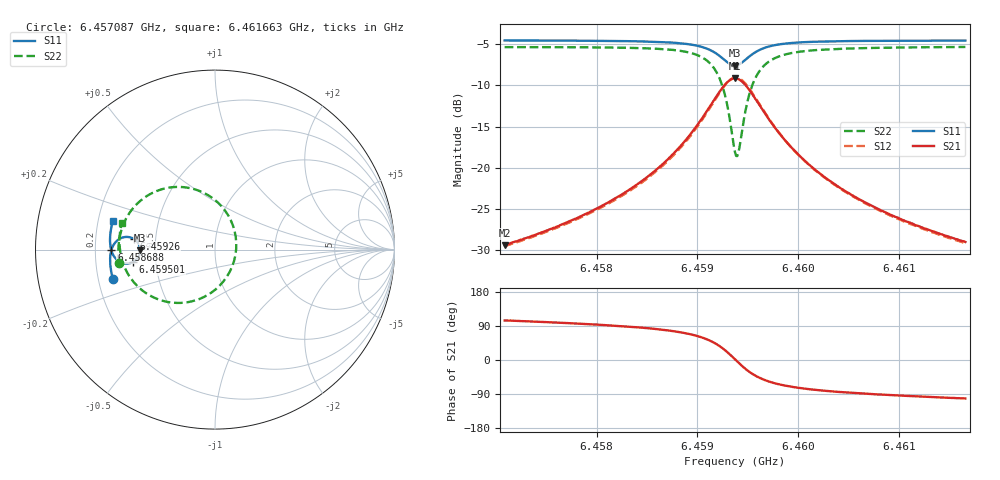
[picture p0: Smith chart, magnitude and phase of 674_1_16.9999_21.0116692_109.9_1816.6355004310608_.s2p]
#  HZ  S  RI  R  50.00
! Rohde & Schwarz Vector Network Analyzer
! Rohde-Schwarz,ZNB20-2Port,1311601062101988,3.16
! Created: UTC 3/20/2024, 11:22:16 PM
! freq[Hz]  re:S11  im:S11  re:S21  im:S21  re:S12  im:S12  re:S22  im:S22
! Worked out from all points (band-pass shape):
!   401 points, 6.457087 GHz to 6.461663 GHz, reference 50 ohm
!   highest |S21| = -9.16 dB at 6.459375 GHz (marker M1); lowest = -29.4 dB at 6.457087 GHz (marker M2)
!   |S21| within 3 dB of the highest: 6.459147 GHz to 6.459604 GHz (457.9 kHz wide, 0.00709 % of centre)
!   lowest |S11| = -7.6 dB at 6.459375 GHz (marker M3), VSWR 2.43, Z = 20.6 - j0.194 ohm
!   |S11| at or under -10 dB: nowhere
!   |S22| runs from -18.6 to -5.3 dB; largest |S21 - S12| = 0.014
!   S11 on the Smith chart (normalised r, x): 6.457087 GHz: 0.26, -0.13; 6.458688 GHz: 0.27, -0.00; 6.45926 GHz: 0.37, +0.06; 6.459501 GHz: 0.37, -0.07; 6.461663 GHz: 0.26, +0.13
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6.4570866e9  -0.5692 -0.1634  -0.00836 0.0328  -0.0067 0.0328  -0.5341 -0.0757
6.4578531e9  -0.5822 -0.096  -0.00487 0.0509  -0.00226 0.0502  -0.538 0.0148
6.4582878e9  -0.5843 -0.0522  0.00173 0.0713  0.00499 0.0696  -0.5282 0.0842
6.4586196e9  -0.5799 -0.0124  0.0158 0.0992  0.0197 0.0964  -0.5018 0.1598
6.4586883e9  -0.5776 -0.0027  0.0213 0.1077  0.0254 0.1043  -0.4916 0.1798
6.4588828e9  -0.5644 0.0276  0.0484 0.1384  0.0525 0.1333  -0.4405 0.2486
6.4590315e9  -0.5414 0.0536  0.0943 0.1684  0.0975 0.1617  -0.3557 0.3122
6.4591688e9  -0.4972 0.0707  0.1822 0.184  0.1829 0.1767  -0.195 0.3492
6.4592603e9  -0.4524 0.0599  0.2723 0.1517  0.2723 0.1459  -0.0282 0.2968
6.4593289e9  -0.4235 0.0274  0.3325 0.0789  0.3345 0.0736  0.0871 0.1654
6.4593747e9  -0.4168 -0.00389  0.3483 0.0102  0.352 0.00329  0.1186 0.0371
6.459409e9  -0.4209 -0.0277  0.3421 -0.0426  0.346 -0.0518  0.1063 -0.0631
6.4594548e9  -0.4368 -0.054  0.3128 -0.1027  0.3151 -0.1149  0.047 -0.1771
6.4595006e9  -0.4591 -0.0703  0.2699 -0.1439  0.269 -0.1574  -0.0396 -0.2521
6.4595463e9  -0.4822 -0.0771  0.2248 -0.1661  0.2207 -0.1794  -0.1304 -0.2886
6.4595921e9  -0.5029 -0.077  0.1839 -0.1745  0.1776 -0.1862  -0.2112 -0.2971
6.4597408e9  -0.547 -0.056  0.095 -0.1594  0.0864 -0.1658  -0.3802 -0.2452
6.459901e9  -0.5684 -0.0279  0.0502 -0.1308  0.0423 -0.1334  -0.4606 -0.1714
6.4601412e9  -0.5809 0.00781  0.0212 -0.0984  0.0152 -0.099  -0.508 -0.0875
6.4604616e9  -0.5849 0.0464  0.00599 -0.0725  0.0018 -0.072  -0.5278 -0.012
6.4609078e9  -0.5825 0.0915  -0.00219 -0.0523  -0.00507 -0.0514  -0.5318 0.0609
6.4616628e9  -0.5696 0.1584  -0.0071 -0.0347  -0.00871 -0.0338  -0.5193 0.1506
